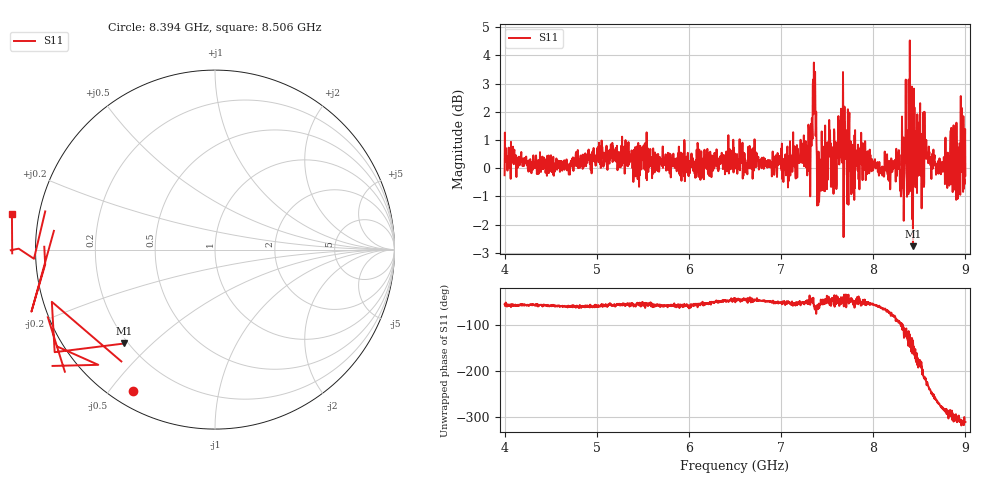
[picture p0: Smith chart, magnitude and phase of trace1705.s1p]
! Created with skrf 1.8.0 (http://scikit-rf.org).
# Hz S RI R 50.0
!freq ReS11 ImS11
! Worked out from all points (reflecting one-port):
!   1601 points, 4 GHz to 9 GHz, reference 50 ohm
!   lowest |S11| = -2.8 dB at 8.431 GHz (marker M1), VSWR 6.34, Z = 9.26 - j20.6 ohm
!   phase of S11 starts at -56 deg and turns -255 deg over the sweep
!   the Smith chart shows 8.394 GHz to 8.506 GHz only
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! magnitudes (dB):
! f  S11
! 4 GHz  -0.2
! 4.625 GHz  -0.1
! 5.25 GHz  0.0
! 5.875 GHz  0.3
! 6.5 GHz  0.5
! 7.125 GHz  0.2
! 7.294 GHz  0.5
! 7.359 GHz  2.3
! 7.412 GHz  -1.2
! 7.512 GHz  0.8
! 7.591 GHz  0.9
! 7.647 GHz  0.7
! 7.75 GHz  0.1
! 8.259 GHz  0.2
! 8.312 GHz  1.8
! 8.334 GHz  -0.5
! 8.356 GHz  0.4
! 8.375 GHz  0.1
! 8.431 GHz  -2.8
! 8.447 GHz  2.2
! 8.459 GHz  -0.7
! 8.522 GHz  1.1
! 8.606 GHz  0.5
! 8.803 GHz  -0.7
! 8.859 GHz  -0.1
! 8.919 GHz  -0.3
! 8.956 GHz  0.5
! 9 GHz  -0.3
